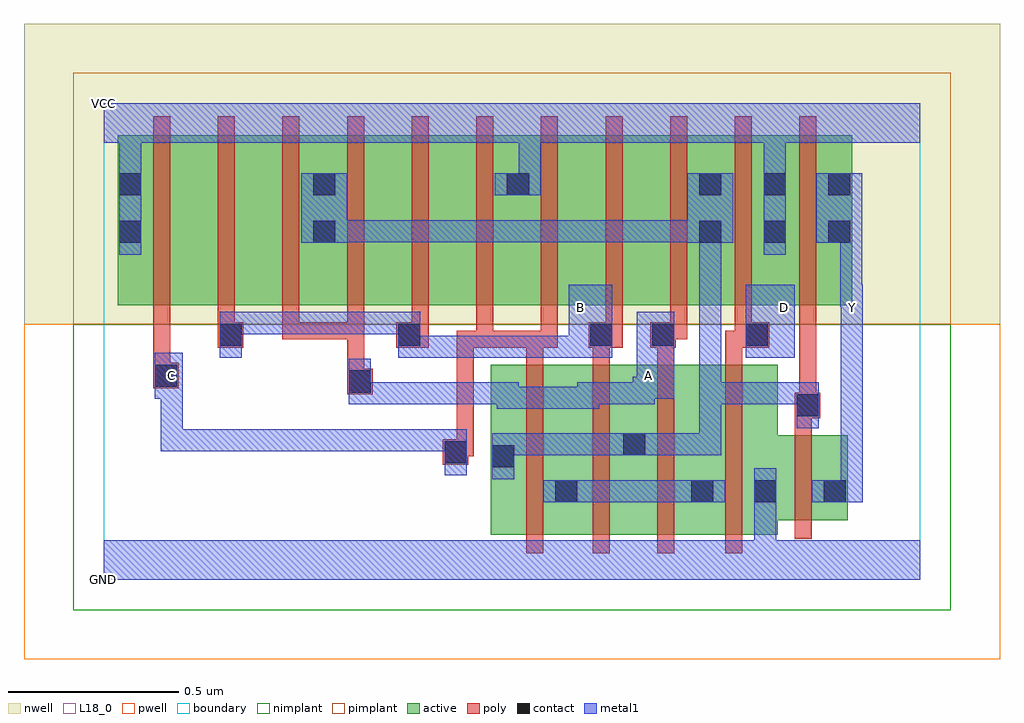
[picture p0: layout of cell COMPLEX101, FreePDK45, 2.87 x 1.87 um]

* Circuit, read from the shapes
.subckt COMPLEX101 A B C D GND VCC Y
M1 n1 C n2 VSUBS nfet w=0.5u l=0.05u
M2 n2 B n1 VSUBS nfet w=0.5u l=0.05u
M3 n1 A n2 VSUBS nfet w=0.5u l=0.05u
M4 GND D n1 VSUBS nfet w=0.5u l=0.05u
M5 Y n2 GND VSUBS nfet w=0.25u l=0.05u
M6 n3 C VCC n4 pfet w=0.5u l=0.05u
M7 n5 B n3 n4 pfet w=0.5u l=0.05u
M8 n2 A n5 n4 pfet w=0.5u l=0.05u
M9 n6 A n2 n4 pfet w=0.5u l=0.05u
M10 n7 B n6 n4 pfet w=0.5u l=0.05u
M11 VCC C n7 n4 pfet w=0.5u l=0.05u
M12 n8 C VCC n4 pfet w=0.5u l=0.05u
M13 n9 B n8 n4 pfet w=0.5u l=0.05u
M14 n2 A n9 n4 pfet w=0.5u l=0.05u
M15 VCC D n2 n4 pfet w=0.5u l=0.05u
M16 Y n2 VCC n4 pfet w=0.5u l=0.05u
.ends

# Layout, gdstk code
import gdstk
lib = gdstk.Library(unit=1e-6, precision=1e-09)
def R(c, l, rs):  # rectangles x0, y0, x1, y1
    for r in rs: c.add(gdstk.rectangle(r[:2], r[2:], *l))
def A(c, l, x, y, w, h, nx, ny, dx, dy):  # array of equal rectangles
    R(c, l, [(x+i*dx, y+j*dy, x+i*dx+w, y+j*dy+h) for i in range(nx) for j in range(ny)])
active = (1, 0)
pwell = (2, 0)
nwell = (3, 0)
nimplant = (4, 0)
pimplant = (5, 0)
poly = (9, 0)
contact = (10, 0)
metal1 = (11, 0)
L18_0 = (18, 0)
boundary = (235, 0)

complex101 = lib.new_cell('COMPLEX101')
A(complex101, active, 1.322, 0.195, 0.075, 0.397, 3, 1, 0.2, 0)
A(complex101, active, 0.04, 0.807, 0.225, 0.5, 3, 1, 0.57, 0)
A(complex101, active, 0.265, 0.807, 0.19, 0.5, 3, 1, 0.57, 0)
R(complex101, active, [(1.137,0.132,1.397,0.632), (1.322,0.132,1.597,0.632), (1.522,0.132,1.797,0.632), (1.722,0.132,1.982,0.632), (1.907,0.132,1.982,0.425), (1.907,0.175,2.187,0.425), (1.137,0.195,1.212,0.632), (2.112,0.2,2.187,0.425), (0.04,0.807,0.115,1.305), (0.455,0.807,0.685,1.307), (0.61,0.807,0.685,1.2), (1.025,0.807,1.255,1.307), (1.18,0.807,1.255,1.305), (1.595,0.807,1.82,1.307), (1.745,0.807,1.82,1.2), (1.745,0.807,2.01,1.307), (1.935,0.807,2.2,1.307), (1.935,0.807,2.01,1.305), (2.125,0.807,2.2,1.2)])
R(complex101, pwell, [(-0.235,-0.235,2.635,0.75)])
R(complex101, nwell, [(-0.235,0.75,2.635,1.635)])
R(complex101, nimplant, [(-0.09,-0.09,2.49,0.75)])
R(complex101, pimplant, [(-0.09,0.75,2.49,1.49)])
A(complex101, poly, 0.335, 0.707, 0.05, 0.095, 4, 1, 0.19, 0)
A(complex101, poly, 1.475, 0.707, 0.05, 0.095, 3, 1, 0.19, 0)
A(complex101, poly, 0.145, 0.752, 0.05, 0.61, 11, 1, 0.19, 0)
R(complex101, poly, [(1.242,0.077,1.292,0.687), (1.437,0.077,1.487,0.687), (1.627,0.077,1.677,0.687), (1.827,0.077,1.877,0.687), (2.032,0.12,2.082,0.48), (0.997,0.337,1.072,0.412), (1.022,0.362,1.072,0.412), (1.022,0.362,1.087,0.412), (1.037,0.362,1.087,0.412), (1.037,0.362,1.087,0.412), (1.037,0.362,1.087,0.732), (2.032,0.43,2.082,0.525), (2.032,0.475,2.107,0.55), (2.045,0.5,2.095,0.802), (2.045,0.5,2.095,0.55), (2.045,0.5,2.095,0.55), (0.715,0.545,0.79,0.62), (0.145,0.562,0.22,0.637), (0.715,0.57,0.765,0.757), (0.145,0.587,0.195,0.637), (0.145,0.587,0.195,0.637), (0.145,0.587,0.195,0.802), (1.242,0.637,1.292,0.732), (1.437,0.637,1.487,0.732), (1.627,0.637,1.677,0.732), (1.827,0.637,1.877,0.732), (0.335,0.682,0.41,0.757), (0.86,0.682,0.955,0.757), (1.037,0.682,1.145,0.732), (1.095,0.682,1.145,0.732), (1.095,0.682,1.145,0.732), (1.095,0.682,1.145,0.802), (1.095,0.682,1.292,0.732), (1.242,0.682,1.292,0.732), (1.242,0.682,1.292,0.732), (1.242,0.682,1.335,0.732), (1.285,0.682,1.335,0.802), (1.425,0.682,1.525,0.757), (1.437,0.682,1.487,0.732), (1.437,0.682,1.487,0.732), (1.607,0.682,1.682,0.757), (1.827,0.682,1.905,0.732), (1.855,0.682,1.905,0.732), (1.855,0.682,1.957,0.757), (0.525,0.707,0.575,0.757), (0.525,0.707,0.765,0.757), (0.715,0.707,0.765,0.757), (0.715,0.707,0.765,0.757), (0.715,0.707,0.765,0.757), (1.632,0.707,1.682,0.757), (1.632,0.707,1.715,0.757)])
A(complex101, contact, 1.75, 0.99, 0.065, 0.065, 3, 2, 0.19, 0.14)
A(complex101, contact, 0.045, 1.13, 0.065, 0.065, 3, 1, 0.57, 0)
R(complex101, contact, [(1.327,0.227,1.392,0.292), (1.727,0.227,1.792,0.292), (1.912,0.227,1.977,0.292), (2.117,0.227,2.182,0.292), (1.142,0.33,1.207,0.395), (1.002,0.342,1.067,0.407), (1.527,0.365,1.592,0.43), (2.037,0.48,2.102,0.545), (0.72,0.55,0.785,0.615), (0.15,0.567,0.215,0.632), (0.34,0.687,0.405,0.752), (0.865,0.687,0.93,0.752), (1.43,0.687,1.495,0.752), (1.612,0.687,1.677,0.752), (1.887,0.687,1.952,0.752), (0.045,0.99,0.11,1.055), (0.615,0.99,0.68,1.055)])
R(complex101, metal1, [(0,0,2.4,0.115), (1.912,0.05,1.977,0.257), (1.912,0.192,1.977,0.327), (1.292,0.227,1.427,0.292), (1.362,0.227,1.427,0.292), (1.362,0.227,1.427,0.292), (1.362,0.227,1.595,0.292), (1.53,0.227,1.595,0.292), (1.53,0.227,1.595,0.292), (1.53,0.227,1.595,0.292), (1.53,0.227,1.757,0.292), (1.692,0.227,1.827,0.292), (2.082,0.227,2.232,0.292), (2.167,0.227,2.232,0.797), (1.142,0.295,1.207,0.43), (1.002,0.307,1.067,0.442), (1.142,0.365,1.207,0.43), (1.142,0.365,1.207,0.43), (1.142,0.365,1.357,0.43), (1.292,0.365,1.357,0.43), (1.292,0.365,1.357,0.43), (1.292,0.365,1.357,0.43), (1.292,0.365,1.557,0.43), (1.492,0.365,1.627,0.43), (1.562,0.365,1.627,0.43), (1.562,0.365,1.627,0.43), (1.562,0.365,1.815,0.43), (1.75,0.365,1.815,0.43), (1.75,0.365,1.815,0.58), (0.167,0.377,0.232,0.442), (0.167,0.377,0.232,0.597), (0.167,0.377,0.44,0.442), (0.375,0.377,0.44,0.442), (0.375,0.377,0.44,0.442), (0.375,0.377,0.44,0.442), (0.375,0.377,0.577,0.442), (0.512,0.377,0.577,0.442), (0.512,0.377,0.577,0.442), (0.512,0.377,0.577,0.442), (0.512,0.377,0.715,0.442), (0.65,0.377,0.715,0.442), (0.65,0.377,0.922,0.442), (0.857,0.377,0.922,0.442), (0.857,0.377,0.922,0.442), (0.857,0.377,0.922,0.442), (0.857,0.377,1.067,0.442), (1.002,0.377,1.067,0.442), (1.002,0.377,1.067,0.442), (1.002,0.377,1.067,0.442), (1.002,0.377,1.067,0.442), (2.037,0.445,2.102,0.58), (1.155,0.502,1.22,0.58), (1.155,0.502,1.345,0.567), (1.28,0.502,1.345,0.567), (1.28,0.502,1.457,0.567), (1.392,0.502,1.457,0.58), (0.72,0.515,0.785,0.65), (0.72,0.515,0.922,0.58), (0.857,0.515,0.922,0.58), (0.857,0.515,0.922,0.58), (0.857,0.515,0.922,0.58), (0.857,0.515,1.067,0.58), (1.002,0.515,1.067,0.58), (1.002,0.515,1.067,0.58), (1.002,0.515,1.067,0.58), (1.002,0.515,1.205,0.58), (1.14,0.515,1.205,0.58), (1.14,0.515,1.22,0.58), (1.392,0.515,1.62,0.58), (1.555,0.515,1.62,0.597), (1.75,0.515,1.815,0.58), (1.75,0.515,1.815,0.58), (1.75,0.515,1.815,0.58), (1.75,0.515,1.965,0.58), (1.75,0.515,1.815,1.055), (1.9,0.515,1.965,0.58), (1.9,0.515,1.965,0.58), (1.9,0.515,1.965,0.58), (1.9,0.515,2.102,0.58), (0.15,0.532,0.232,0.667), (0.167,0.532,0.232,0.597), (0.167,0.532,0.232,0.597), (1.555,0.532,1.632,0.597), (1.567,0.532,1.677,0.787), (0.34,0.652,0.405,0.787), (0.865,0.652,0.93,0.787), (0.865,0.652,1.067,0.717), (1.002,0.652,1.067,0.717), (1.002,0.652,1.067,0.717), (1.002,0.652,1.067,0.717), (1.002,0.652,1.205,0.717), (1.14,0.652,1.205,0.717), (1.14,0.652,1.205,0.717), (1.14,0.652,1.205,0.717), (1.14,0.652,1.42,0.717), (1.355,0.652,1.42,0.717), (1.355,0.652,1.432,0.717), (1.367,0.652,1.495,0.867), (1.887,0.652,2.032,0.867), (0.34,0.722,0.44,0.787), (0.375,0.722,0.44,0.787), (0.375,0.722,0.577,0.787), (0.512,0.722,0.577,0.787), (0.512,0.722,0.577,0.787), (0.512,0.722,0.577,0.787), (0.512,0.722,0.715,0.787), (0.65,0.722,0.715,0.787), (0.65,0.722,0.852,0.787), (0.787,0.722,0.852,0.787), (0.787,0.722,0.93,0.787), (2.167,0.732,2.232,0.867), (2.165,0.802,2.23,1.055), (2.165,0.802,2.232,0.867), (2.167,0.802,2.232,0.867), (0.045,0.955,0.11,1.23), (1.94,0.955,2.005,1.23), (0.58,0.99,0.715,1.195), (1.715,0.99,1.85,1.195), (2.095,0.99,2.23,1.195), (0.65,0.992,0.715,1.057), (0.65,0.992,0.715,1.057), (0.65,0.992,0.922,1.057), (0.857,0.992,0.922,1.057), (0.857,0.992,0.922,1.057), (0.857,0.992,0.922,1.057), (0.857,0.992,1.067,1.057), (1.002,0.992,1.067,1.057), (1.002,0.992,1.067,1.057), (1.002,0.992,1.067,1.057), (1.002,0.992,1.207,1.057), (1.142,0.992,1.207,1.057), (1.142,0.992,1.207,1.057), (1.142,0.992,1.207,1.057), (1.142,0.992,1.42,1.057), (1.355,0.992,1.42,1.057), (1.355,0.992,1.42,1.057), (1.355,0.992,1.42,1.057), (1.355,0.992,1.62,1.057), (1.555,0.992,1.62,1.057), (1.555,0.992,1.62,1.057), (1.555,0.992,1.62,1.057), (1.555,0.992,1.78,1.057), (1.15,1.13,1.285,1.195), (1.22,1.13,1.285,1.35), (0.045,1.165,0.11,1.35), (1.94,1.165,2.005,1.35), (0,1.285,2.4,1.4)])
R(complex101, L18_0, [(0,0,2.4,0.115), (1.912,0.05,1.977,0.257), (1.912,0.192,1.977,0.327), (2.082,0.227,2.232,0.292), (2.167,0.227,2.232,0.797), (1.002,0.307,1.067,0.442), (0.167,0.377,0.232,0.442), (0.167,0.377,0.232,0.597), (0.167,0.377,0.44,0.442), (0.375,0.377,0.44,0.442), (0.375,0.377,0.44,0.442), (0.375,0.377,0.44,0.442), (0.375,0.377,0.577,0.442), (0.512,0.377,0.577,0.442), (0.512,0.377,0.577,0.442), (0.512,0.377,0.577,0.442), (0.512,0.377,0.715,0.442), (0.65,0.377,0.715,0.442), (0.65,0.377,0.922,0.442), (0.857,0.377,0.922,0.442), (0.857,0.377,0.922,0.442), (0.857,0.377,0.922,0.442), (0.857,0.377,1.067,0.442), (1.002,0.377,1.067,0.442), (1.002,0.377,1.067,0.442), (1.002,0.377,1.067,0.442), (1.002,0.377,1.067,0.442), (1.155,0.502,1.22,0.58), (1.155,0.502,1.345,0.567), (1.28,0.502,1.345,0.567), (1.28,0.502,1.457,0.567), (1.392,0.502,1.457,0.58), (0.72,0.515,0.785,0.65), (0.72,0.515,0.922,0.58), (0.857,0.515,0.922,0.58), (0.857,0.515,0.922,0.58), (0.857,0.515,0.922,0.58), (0.857,0.515,1.067,0.58), (1.002,0.515,1.067,0.58), (1.002,0.515,1.067,0.58), (1.002,0.515,1.067,0.58), (1.002,0.515,1.205,0.58), (1.14,0.515,1.205,0.58), (1.14,0.515,1.22,0.58), (1.392,0.515,1.62,0.58), (1.555,0.515,1.62,0.597), (0.15,0.532,0.232,0.667), (0.167,0.532,0.232,0.597), (0.167,0.532,0.232,0.597), (1.555,0.532,1.632,0.597), (1.567,0.532,1.677,0.787), (0.167,0.567,0.232,0.632), (1.567,0.567,1.632,0.632), (0.34,0.652,0.405,0.787), (0.865,0.652,0.93,0.787), (0.865,0.652,1.067,0.717), (1.002,0.652,1.067,0.717), (1.002,0.652,1.067,0.717), (1.002,0.652,1.067,0.717), (1.002,0.652,1.205,0.717), (1.14,0.652,1.205,0.717), (1.14,0.652,1.205,0.717), (1.14,0.652,1.205,0.717), (1.14,0.652,1.42,0.717), (1.355,0.652,1.42,0.717), (1.355,0.652,1.432,0.717), (1.367,0.652,1.495,0.867), (1.887,0.652,2.032,0.867), (0.34,0.722,0.44,0.787), (0.375,0.722,0.44,0.787), (0.375,0.722,0.577,0.787), (0.512,0.722,0.577,0.787), (0.512,0.722,0.577,0.787), (0.512,0.722,0.577,0.787), (0.512,0.722,0.715,0.787), (0.65,0.722,0.715,0.787), (0.65,0.722,0.852,0.787), (0.787,0.722,0.852,0.787), (0.787,0.722,0.93,0.787), (2.167,0.732,2.232,0.867), (1.367,0.767,1.432,0.832), (1.967,0.767,2.032,0.832), (2.167,0.767,2.232,0.832), (2.165,0.802,2.232,0.867), (2.165,0.802,2.23,1.055), (2.167,0.802,2.232,0.867), (0.045,0.955,0.11,1.23), (1.94,0.955,2.005,1.23), (2.095,0.99,2.23,1.195), (1.15,1.13,1.285,1.195), (1.22,1.13,1.285,1.35), (0.045,1.165,0.11,1.35), (1.94,1.165,2.005,1.35), (0,1.285,2.4,1.4)])
R(complex101, boundary, [(0,0,2.4,1.4)])
complex101.add(gdstk.Label('A', (1.6,0.6), layer=11, texttype=0))
complex101.add(gdstk.Label('B', (1.4,0.8), layer=11, texttype=0))
complex101.add(gdstk.Label('C', (0.2,0.6), layer=11, texttype=0))
complex101.add(gdstk.Label('D', (2,0.8), layer=11, texttype=0))
complex101.add(gdstk.Label('Y', (2.2,0.8), layer=11, texttype=0))
complex101.add(gdstk.Label('VCC', (0,1.4), layer=11, texttype=0))
complex101.add(gdstk.Label('GND', (0,0), layer=11, texttype=0))

lib.write_gds('COMPLEX101.gds')
